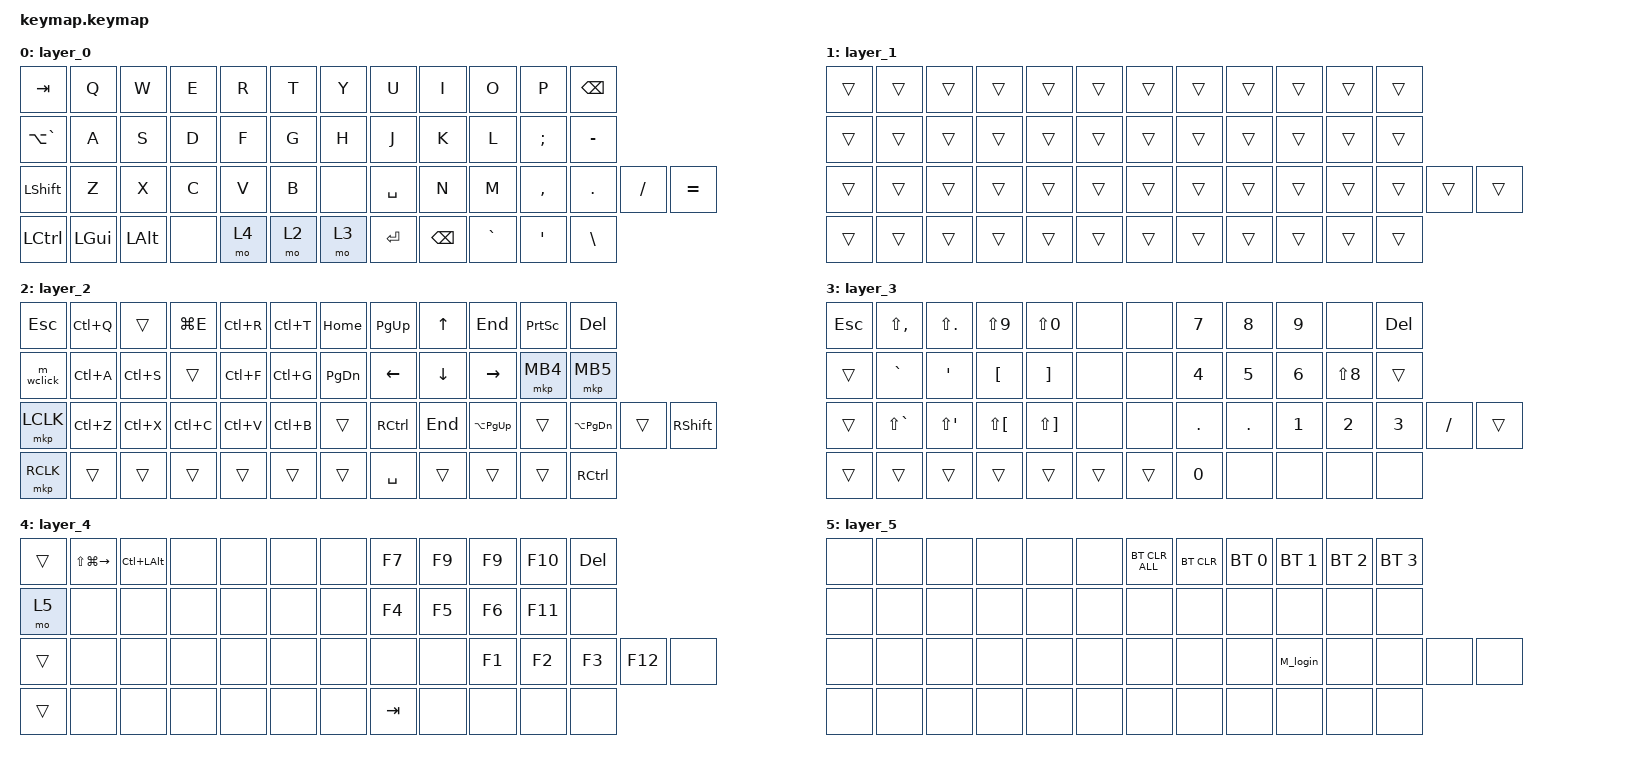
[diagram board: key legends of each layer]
#include <behaviors.dtsi>
#include <dt-bindings/zmk/bt.h>
#include <dt-bindings/zmk/keys.h>
#include <dt-bindings/zmk/pointing.h>

/ {
    combos {
        compatible = "zmk,combos";

        bt_clear {
            bindings = <&bt BT_CLR>;
            key-positions = <29 28>;
        };
    };

    macros {
        m_wclick: m_wclick {
            compatible = "zmk,behavior-macro";
            #binding-cells = <0>;
            bindings = <&mkp LCLK &mkp LCLK>;
            label = "M_WCLICK";
        };

        M_login: M_login {
            compatible = "zmk,behavior-macro";
            #binding-cells = <0>;
            bindings = <&kp LS(H) &kp I &kp D &kp E &kp N8 &kp N9 &kp N4 &kp N5 &kp N0 &kp N1 &kp N0 &kp N3>;
            label = "M_LOGIN";
        };
    };

    behaviors {
        BS_DEL: BS_DEL {
            compatible = "zmk,behavior-tap-dance";
            label = "BS_DEL";
            #binding-cells = <0>;
            bindings = <&kp BACKSPACE>, <&kp DELETE>;

            tapping-term-ms = <200>;
        };
    };

    keymap {
        compatible = "zmk,keymap";

        layer_0 {
            bindings = <
&kp TAB        &kp Q         &kp W         &kp E  &kp R  &kp T  &kp Y  &kp U      &kp I          &kp O      &kp P          &kp BACKSPACE
&kp LA(GRAVE)  &kp A         &kp S         &kp D  &kp F  &kp G  &kp H  &kp J      &kp K          &kp L      &kp SEMICOLON  &kp MINUS
&kp LSHFT      &kp Z         &kp X         &kp C  &kp V  &kp B  &none  &kp SPACE  &kp N          &kp M      &kp COMMA      &kp DOT        &kp SLASH  &kp EQUAL
&kp LCTRL      &kp LEFT_GUI  &kp LEFT_ALT  &none  &mo 4  &mo 2  &mo 3  &kp ENTER  &kp BACKSPACE  &kp GRAVE  &kp SQT        &kp BACKSLASH
            >;
        };

        layer_1 {
            bindings = <
&trans  &trans  &trans  &trans  &trans  &trans  &trans  &trans  &trans  &trans  &trans  &trans
&trans  &trans  &trans  &trans  &trans  &trans  &trans  &trans  &trans  &trans  &trans  &trans
&trans  &trans  &trans  &trans  &trans  &trans  &trans  &trans  &trans  &trans  &trans  &trans  &trans  &trans
&trans  &trans  &trans  &trans  &trans  &trans  &trans  &trans  &trans  &trans  &trans  &trans
            >;
        };

        layer_2 {
            bindings = <
&kp ESCAPE  &kp LC(Q)  &trans     &kp LG(E)  &kp LC(R)  &kp LC(T)  &kp HOME       &kp PAGE_UP     &kp UP_ARROW    &kp END          &kp PRINTSCREEN  &kp DELETE
&m_wclick   &kp LC(A)  &kp LC(S)  &trans     &kp LC(F)  &kp LC(G)  &kp PAGE_DOWN  &kp LEFT_ARROW  &kp DOWN_ARROW  &kp RIGHT_ARROW  &mkp MB4         &mkp MB5
&mkp LCLK   &kp LC(Z)  &kp LC(X)  &kp LC(C)  &kp LC(V)  &kp LC(B)  &trans         &kp RCTRL       &kp END         &kp LA(PG_UP)    &trans           &kp LA(PAGE_DOWN)  &trans  &kp RIGHT_SHIFT
&mkp RCLK   &trans     &trans     &trans     &trans     &trans     &trans         &kp SPACE       &trans          &trans           &trans           &kp RCTRL
            >;
        };

        layer_3 {
            bindings = <
&kp ESCAPE  &kp LS(COMMA)  &kp LS(PERIOD)  &kp LS(NUMBER_9)      &kp LS(NUMBER_0)       &none   &none   &kp NUMBER_7  &kp NUMBER_8  &kp NUMBER_9  &none             &kp DELETE
&trans      &kp GRAVE      &kp SQT         &kp LEFT_BRACKET      &kp RIGHT_BRACKET      &none   &none   &kp NUMBER_4  &kp NUMBER_5  &kp NUMBER_6  &kp LS(NUMBER_8)  &trans
&trans      &kp LS(GRAVE)  &kp LS(SQT)     &kp LS(LEFT_BRACKET)  &kp LS(RIGHT_BRACKET)  &none   &none   &kp DOT       &kp DOT       &kp NUMBER_1  &kp NUMBER_2      &kp NUMBER_3  &kp SLASH  &trans
&trans      &trans         &trans          &trans                &trans                 &trans  &trans  &kp NUMBER_0  &none         &none         &none             &none
            >;
        };

        layer_4 {
            bindings = <
&trans  &kp LS(LG(RIGHT))  &kp LC(LEFT_ALT)  &none  &none  &none  &none  &kp F7   &kp F9  &kp F9  &kp F10  &kp DELETE
&mo 5   &none              &none             &none  &none  &none  &none  &kp F4   &kp F5  &kp F6  &kp F11  &none
&trans  &none              &none             &none  &none  &none  &none  &none    &none   &kp F1  &kp F2   &kp F3      &kp F12  &none
&trans  &none              &none             &none  &none  &none  &none  &kp TAB  &none   &none   &none    &none
            >;
        };

        layer_5 {
            bindings = <
&none  &none  &none  &none  &none  &none  &bt BT_CLR_ALL  &bt BT_CLR  &bt BT_SEL 0  &bt BT_SEL 1  &bt BT_SEL 2  &bt BT_SEL 3
&none  &none  &none  &none  &none  &none  &none           &none       &none         &none         &none         &none
&none  &none  &none  &none  &none  &none  &none           &none       &none         &M_login      &none         &none         &none  &none
&none  &none  &none  &none  &none  &none  &none           &none       &none         &none         &none         &none
            >;
        };
    };
};
